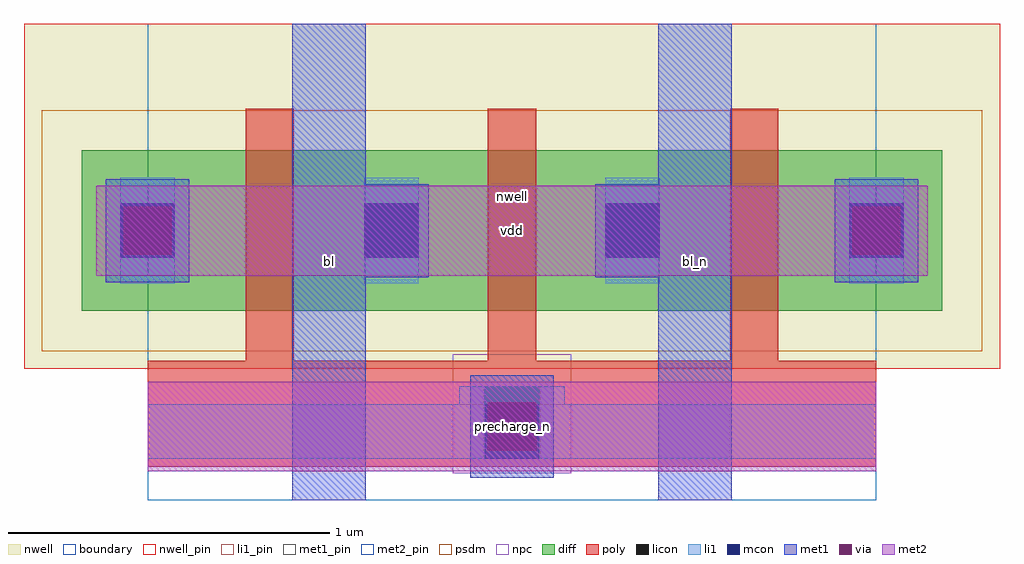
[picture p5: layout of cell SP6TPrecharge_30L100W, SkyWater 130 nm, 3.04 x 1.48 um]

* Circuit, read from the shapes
.subckt SP6TPrecharge_30L100W bl bl_n nwell precharge_n vdd
XM1 bl precharge_n vdd nwell sky130_fd_pr__pfet_01v8 w=0.5 l=0.15
XM2 bl_n precharge_n bl nwell sky130_fd_pr__pfet_01v8 w=0.5 l=0.15
XM3 vdd precharge_n bl_n nwell sky130_fd_pr__pfet_01v8 w=0.5 l=0.15
.ends

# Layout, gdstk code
import gdstk
lib = gdstk.Library(unit=1e-6, precision=1e-09)
def R(c, l, rs):  # rectangles x0, y0, x1, y1
    for r in rs: c.add(gdstk.rectangle(r[:2], r[2:], *l))
def P(c, l, *ps):  # polygons
    for p in ps: c.add(gdstk.Polygon(p, *l))
nwell_pin = (64, 16)
nwell = (64, 20)
diff = (65, 20)
poly = (66, 20)
licon = (66, 44)
li1_pin = (67, 16)
li1 = (67, 20)
mcon = (67, 44)
met1_pin = (68, 16)
met1 = (68, 20)
via = (68, 44)
met2_pin = (69, 16)
met2 = (69, 20)
psdm = (94, 20)
npc = (95, 20)
boundary = (235, 4)

sp6tprecharge_30l100w = lib.new_cell('SP6TPrecharge_30L100W')
R(sp6tprecharge_30l100w, nwell_pin, [(-0.385,0.41,2.655,1.485)])
R(sp6tprecharge_30l100w, nwell, [(-0.385,0.41,2.655,1.485)])
R(sp6tprecharge_30l100w, diff, [(-0.205,0.59,2.475,1.09)])
P(sp6tprecharge_30l100w, poly, [(0,0.105),(0,0.435),(0.305,0.435),(0.305,1.22),(0.455,1.22),(0.455,0.435),(1.06,0.435),(1.06,1.22),(1.21,1.22),(1.21,0.435),(1.815,0.435),(1.815,1.22),(1.965,1.22),(1.965,0.435),(2.27,0.435),(2.27,0.105)])
R(sp6tprecharge_30l100w, licon, [(1.05,0.185,1.22,0.355), (-0.085,0.755,0.085,0.925), (0.675,0.755,0.845,0.925), (1.425,0.755,1.595,0.925), (2.185,0.755,2.355,0.925)])
R(sp6tprecharge_30l100w, li1_pin, [(0,0.13,2.27,0.3)])
R(sp6tprecharge_30l100w, li1, [(-0.085,0.675,0.085,1.005), (0.675,0.675,0.845,1.005), (1.425,0.675,1.595,1.005), (2.185,0.675,2.355,1.005)])
P(sp6tprecharge_30l100w, li1, [(0,0.13),(0,0.3),(0.97,0.3),(0.97,0.355),(1.3,0.355),(1.3,0.3),(2.27,0.3),(2.27,0.13)])
R(sp6tprecharge_30l100w, mcon, [(1.05,0.13,1.22,0.3), (-0.085,0.755,0.085,0.925), (0.675,0.755,0.845,0.925), (1.425,0.755,1.595,0.925), (2.185,0.755,2.355,0.925)])
R(sp6tprecharge_30l100w, met1_pin, [(0.45,0,0.68,1.485), (1.59,0,1.82,1.485)])
R(sp6tprecharge_30l100w, met1, [(1.005,0.07,1.265,0.39), (-0.13,0.68,0.13,1), (2.14,0.68,2.4,1)])
P(sp6tprecharge_30l100w, met1, [(1.59,0),(1.59,0.695),(1.395,0.695),(1.395,0.985),(1.59,0.985),(1.59,1.485),(1.82,1.485),(1.82,0)],
  [(0.45,0),(0.45,1.485),(0.68,1.485),(0.68,0.985),(0.875,0.985),(0.875,0.695),(0.68,0.695),(0.68,0)])
R(sp6tprecharge_30l100w, via, [(1.06,0.155,1.21,0.305), (-0.075,0.765,0.075,0.915), (2.195,0.765,2.345,0.915)])
R(sp6tprecharge_30l100w, met2_pin, [(0,0.09,2.27,0.37), (-0.16,0.7,2.43,0.98)])
R(sp6tprecharge_30l100w, met2, [(0,0.09,2.27,0.37), (-0.16,0.7,2.43,0.98)])
R(sp6tprecharge_30l100w, psdm, [(-0.33,0.465,2.6,1.215)])
R(sp6tprecharge_30l100w, npc, [(0.95,0.085,1.32,0.455)])
R(sp6tprecharge_30l100w, boundary, [(0,0,2.27,1.485)])
sp6tprecharge_30l100w.add(gdstk.Label('vdd', (1.135,0.84), layer=69, texttype=16))
sp6tprecharge_30l100w.add(gdstk.Label('precharge_n', (1.135,0.23), layer=69, texttype=16))
sp6tprecharge_30l100w.add(gdstk.Label('bl_n', (1.705,0.743), layer=68, texttype=16))
sp6tprecharge_30l100w.add(gdstk.Label('bl', (0.565,0.743), layer=68, texttype=16))
sp6tprecharge_30l100w.add(gdstk.Label('precharge_n', (1.135,0.215), layer=67, texttype=16))
sp6tprecharge_30l100w.add(gdstk.Label('nwell', (1.135,0.948), layer=64, texttype=16))

lib.write_gds('SP6TPrecharge_30L100W.gds')
